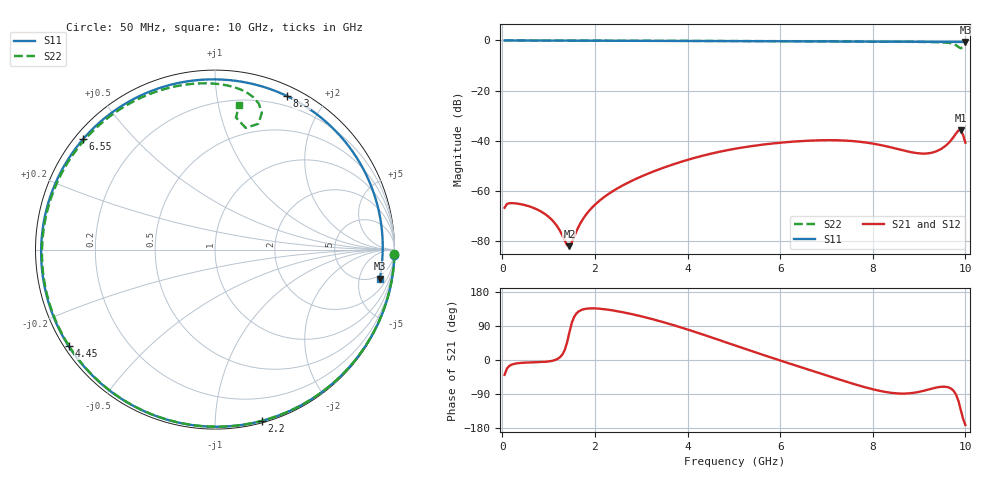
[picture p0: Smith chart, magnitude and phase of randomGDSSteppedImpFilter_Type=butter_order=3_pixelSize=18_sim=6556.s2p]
! freq	dB(S11)	phase(S11)	dB(S12)	phase(S12)
!  dB(S21)	phase(S21)	dB(S22)	phase(S22)
!S-par simulation data
#  GHz  S  DB  R 50
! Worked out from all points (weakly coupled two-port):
!   200 points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, 50 MHz to 10 GHz, reference 50 ohm
!   highest |S21| = -35.85 dB at 9.9 GHz (marker M1); lowest = -82.0 dB at 1.45 GHz (marker M2)
!   lowest |S11| = -0.6 dB at 10 GHz (marker M3), VSWR 28.41, Z = 201 - j493 ohm
!   |S11| at or under -10 dB: nowhere
!   |S22| runs from -3.1 to 0.0 dB; largest |S21 - S12| = 0
!   S11 on the Smith chart (normalised r, x): 50 MHz: 0, -65; 2.2 GHz: 0.01, -1.31; 4.45 GHz: 0.01, -0.30; 6.55 GHz: 0.02, +0.36; 8.3 GHz: 0.10, +1.57; 10 GHz: 4, -10
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0.05  -0.00 -1.8  -66.67 -39.1  -66.67 -39.1  -0.00 -1.5
0.25  -0.00 -8.8  -64.88 -10.4  -64.88 -10.4  -0.00 -7.6
0.8  -0.03 -27.8  -67.81 -5.8  -67.81 -5.8  -0.03 -24.2
1.1  -0.05 -38.1  -72.08 -1.5  -72.08 -1.5  -0.04 -33.2
1.35  -0.06 -46.6  -79.83 27.0  -79.83 27.0  -0.05 -40.5
1.45  -0.06 -49.9  -82.00 73.6  -82.00 73.6  -0.05 -43.5
1.5  -0.07 -51.6  -80.53 97.7  -80.53 97.7  -0.06 -44.9
1.75  -0.08 -59.9  -70.95 133.8  -70.95 133.8  -0.07 -52.2
2.2  -0.09 -74.7  -62.41 134.1  -62.41 134.1  -0.08 -65.0
3.4  -0.15 -113.2  -51.27 102.5  -51.27 102.5  -0.13 -97.9
4.45  -0.21 -146.5  -45.38 62.4  -45.38 62.4  -0.18 -125.5
5.05  -0.25 -166.2  -43.09 37.4  -43.09 37.4  -0.21 -141.1
5.8  -0.30 168.0  -41.14 6.7  -41.14 6.7  -0.26 -160.7
6.55  -0.37 140.0  -40.01 -23.0  -40.01 -23.0  -0.32 179.2
6.7  -0.38 134.1  -39.88 -28.9  -39.88 -28.9  -0.34 175.0
7.55  -0.45 98.6  -40.08 -61.8  -40.08 -61.8  -0.41 150.7
8.3  -0.49 65.0  -42.21 -84.9  -42.21 -84.9  -0.49 127.5
8.35  -0.49 62.7  -42.42 -85.8  -42.42 -85.8  -0.49 125.9
9.25  -0.54 21.9  -44.83 -76.3  -44.83 -76.3  -0.63 94.9
9.75  -0.59 0.3  -38.34 -82.0  -38.34 -82.0  -1.43 73.2
9.9  -0.60 -6.0  -35.85 -131.5  -35.85 -131.5  -3.11 75.8
10  -0.61 -9.9  -40.75 -171.5  -40.75 -171.5  -1.73 80.5
